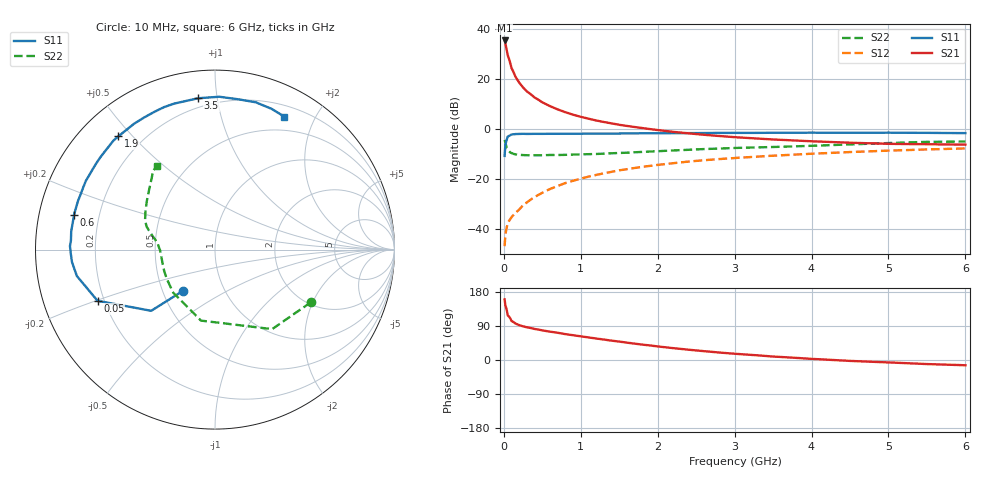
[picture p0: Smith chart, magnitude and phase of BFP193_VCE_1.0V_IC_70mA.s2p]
! Infineon Technologies  Discrete & RF Semiconductors
! BFP193
! VCE =  1.0 V,  IC =  70 mA
! Common Emitter S-Parameters:  Jan 2017
# GHz  S  MA  R  50
!  f  S11  S21  S12  S22
! GHz  MAG  ANG  MAG  ANG  MAG  ANG  MAG  ANG
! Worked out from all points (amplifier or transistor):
!   77 points, 10 MHz to 6 GHz, reference 50 ohm
!   highest |S21| = 35.5 dB at 10 MHz (marker M1)
!   |S21| within 3 dB of that: start of sweep to 32.1 MHz
!   unconditionally stable (mu >= 1): start of sweep to 10.64 MHz; 192.3 MHz to end of sweep
!   at 130 MHz: K = 0.85, MSG = 28.3 dB, |S12| = -34.1 dB
!   at 2.2 GHz: K = 1.08, MAG = 4.6 dB, |S12| = -13.6 dB
!   at 6 GHz: K = 1.05, MAG = -0.6 dB, |S12| = -7.7 dB
!   S11 on the Smith chart (normalised r, x): 10 MHz: 0.63, -0.32; 50 MHz: 0.17, -0.20; 600 MHz: 0.11, +0.12; 1.9 GHz: 0.11, +0.46; 3.5 GHz: 0.15, +0.88; 6 GHz: 0.33, +1.60
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0.01  0.2923 -127.9  59.3 160.0  0.0046 72.6  0.609 -28.9
0.02  0.4927 -136.2  51.55 143.9  0.0078 64.2  0.5454 -54.3
0.05  0.7136 -156.4  30.18 117.8  0.0132 46.9  0.4033 -101.2
0.1  0.7836 -169.2  16.57 102.7  0.0174 52.3  0.3341 -134.3
0.15  0.7998 -175.0  11.27 96.3  0.0212 55.6  0.3143 -148.7
0.2  0.8039 -178.5  8.505 92.0  0.0248 60.2  0.3074 -156.8
0.25  0.8084 178.6  6.818 88.8  0.0303 62.9  0.3041 -161.8
0.3  0.8043 176.4  5.691 86.3  0.0345 65.6  0.3018 -165.7
0.4  0.8077 172.7  4.3 81.9  0.044 67.6  0.3013 -170.4
0.5  0.8067 169.3  3.442 78.2  0.0536 68.0  0.3017 -173.7
0.6  0.8091 166.1  2.888 74.8  0.0638 67.9  0.3054 -176.3
0.8  0.8101 160.3  2.184 68.3  0.0839 67.5  0.3072 179.9
0.9  0.8095 157.5  1.948 65.4  0.0931 66.2  0.3108 178.5
1.1  0.815 152.0  1.621 59.6  0.1128 64.4  0.3169 175.8
1.5  0.82 141.2  1.225 48.6  0.1506 59.0  0.3351 171.1
1.9  0.8297 130.5  1.005 38.4  0.1848 53.2  0.3574 167.4
2.1  0.8306 125.3  0.922 33.6  0.2012 50.1  0.3696 165.6
3.1  0.8436 103.8  0.678 15.1  0.2713 35.9  0.4253 156.3
3.5  0.8484 96.4  0.623 9.1  0.2954 30.8  0.4411 151.5
4.1  0.85 86.9  0.566 2.0  0.3283 23.2  0.4714 143.2
5.1  0.8495 73.2  0.508 -7.2  0.377 11.1  0.5345 131.2
6  0.8354 62.4  0.491 -13.9  0.4129 1.0  0.5683 124.6
